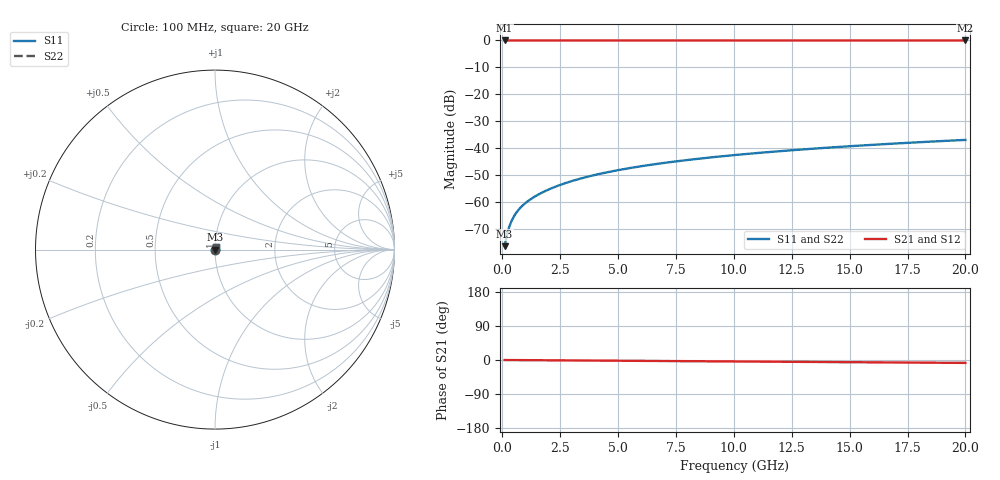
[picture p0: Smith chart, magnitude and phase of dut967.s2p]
! Touchstone file exported from HFSS 2026.1.0
!  File:  C:/ffzhzh/LocalFiles/Ansys_Project_Files/temp_train_TSV_967_1783187678_55132.aedt
!  Generated:  01:56:06 AM Jul  5, 2026
!  Design:  TSV
!  Project:  temp_train_TSV_967_1783187678_55132
! Variables:
!  h_bsmrdl = 2um
!  h_ox = 20um
!  h_rdl = 5um
!  h_sub = 73.8um
!  h_tmrdl = 5um
!  h_tsv = 73.8um
!  h_via = 3um
!  l_bsmrdl = 300um
!  l_sub = 422.04um
!  l_tmrdl = 200um
!  m_sub = 200um
!  pitch = 49.61um
!  r_tsv = 11.02um
!  s_tmrdl = 10um
!  w_bsmrdl = 18um
!  w_sub = 500um
!  w_tmrdl = 12um
!  x_tsv_center1 = 206um
!  x_tsv_center2 = 524um
!  x_tsv_center3 = 736um
!  x_tsv_center4 = 1054um
!  x_tsv_center5 = 1266um
!  x_tsv_center6 = 1584um
# GHz S MA R 50.000000
! Terminal data exported
! Port[1] = TSV1_1_T1
! Port[2] = TSV1_1_T2
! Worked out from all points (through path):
!   200 points, 100 MHz to 20 GHz, reference 50 ohm
!   highest |S21| = 0.00 dB at 100 MHz (marker M1); lowest = 0.0 dB at 20 GHz (marker M2)
!   group delay of S21, straight-line fit = 1.06 ps
!   lowest |S11| = -76.5 dB at 100 MHz (marker M3), VSWR 1.00, Z = 50 + j0.0109 ohm
!   |S11| at or under -10 dB: start of sweep to end of sweep
!   |S22| runs from -76.5 to -37.0 dB; largest |S21 - S12| = 3.4e-15
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0.1  0.00015 46.8  0.9999 -0.0  0.9999 -0.0  0.00015 46.8
! Gamma 0 0 0 0
! Port Impedance 50 0 50 0
0.2  0.0002442 62.2  0.9999 -0.1  0.9999 -0.1  0.0002442 62.2
0.3  0.000344 67.7  0.9999 -0.1  0.9999 -0.1  0.000344 67.7
0.4  0.0004417 70.1  0.9999 -0.2  0.9999 -0.2  0.0004417 70.1
0.5  0.0005352 71.2  0.9998 -0.2  0.9998 -0.2  0.0005352 71.2
0.6  0.0006244 71.9  0.9998 -0.2  0.9998 -0.2  0.0006244 71.9
0.7  0.0007097 72.4  0.9998 -0.3  0.9998 -0.3  0.0007097 72.4
0.9  0.0008716 73.2  0.9998 -0.4  0.9998 -0.4  0.0008716 73.2
1.1  0.001026 74.0  0.9997 -0.4  0.9997 -0.4  0.001026 74.0
1.3  0.001177 74.7  0.9997 -0.5  0.9997 -0.5  0.001177 74.7
1.6  0.001399 75.8  0.9997 -0.6  0.9997 -0.6  0.001399 75.8
1.9  0.001621 76.6  0.9996 -0.7  0.9996 -0.7  0.001621 76.6
2.6  0.002137 78.1  0.9996 -1.0  0.9996 -1.0  0.002137 78.1
3.5  0.002798 79.2  0.9995 -1.4  0.9995 -1.4  0.002798 79.2
4.2  0.003308 79.6  0.9995 -1.6  0.9995 -1.6  0.003308 79.6
5  0.003884 79.9  0.9994 -1.9  0.9994 -1.9  0.003884 79.9
6.8  0.005161 80.2  0.9993 -2.6  0.9993 -2.6  0.005161 80.2
8.3  0.00621 80.2  0.9993 -3.2  0.9993 -3.2  0.00621 80.2
10.1  0.007458 80.0  0.9992 -3.9  0.9992 -3.9  0.007458 80.0
13.4  0.009725 79.5  0.999 -5.1  0.999 -5.1  0.009725 79.5
16.7  0.01197 78.8  0.9989 -6.4  0.9989 -6.4  0.01197 78.8
20  0.01417 77.8  0.9988 -7.7  0.9988 -7.7  0.01417 77.8
